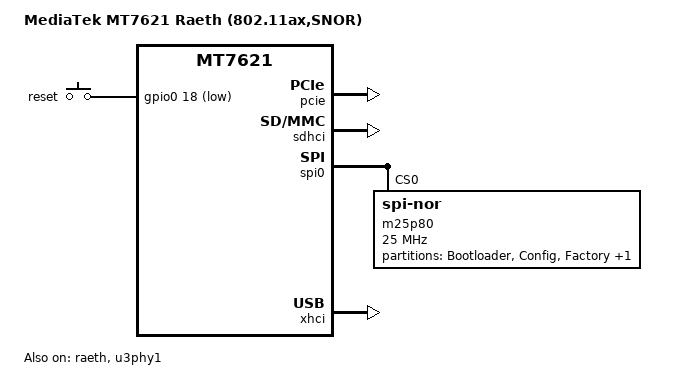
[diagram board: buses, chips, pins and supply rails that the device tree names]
/dts-v1/;

#include "mt7621.dtsi"
#include <dt-bindings/input/input.h>

/ {
	compatible = "mediatek,mt7621-rfb-ax-nor", "mediatek,mt7621-soc";
	model = "MediaTek MT7621 Raeth (802.11ax,SNOR)";

	chosen {
		bootargs = "console=ttyS0,115200";
	};

	gpio-keys-polled {
		compatible = "gpio-keys-polled";
		#address-cells = <1>;
		#size-cells = <0>;
		poll-interval = <20>;

		reset {
			label = "reset";
			gpios = <&gpio0 18 1>;
			linux,code = <KEY_RESTART>;
		};
	};
};

&raeth {
	mac-address = [00 00 00 00 00 00];
	wan_at = "p4";
	gmac1-support = "rgmii-1";
	rgmii-mode-1 = "force-1000";
	gmac2-support = "rgmii-2";
	rgmii-mode-2 = "force-1000";
	gmac2-phy-address = <0>;
	gmac1_txq_num = <1>;
	gmac1_txq_txd_num = <1024>;
	gmac2_txq_num = <1>;
	gmac2_txq_txd_num = <1024>;
	num_rx_desc = <1024>;
	status = "okay";
};

&pcie {
	status = "okay";
};

&pinctrl {
	state_default: pinctrl0 {
		gpio {
			mtk,group = "i2c", "uart2", "uart3";
			mtk,function = "gpio";
		};
	};
};

&sdhci {
	status = "okay";

	pinctrl-names = "default";
	pinctrl-0 = <&sdhci_pins>;
};

&spi0 {
	status = "okay";

	m25p80@0 {
		#address-cells = <1>;
		#size-cells = <1>;
		compatible = "jedec,spi-nor";
		reg = <0>;
		spi-max-frequency = <25000000>;

		partition@0 {
			label = "Bootloader";
			reg = <0x00000 0x40000>;
		};

		partition@40000 {
			label = "Config";
			reg = <0x40000 0x10000>;
		};

		partition@50000 {
			label = "Factory";
			reg = <0x50000 0x40000>;
		};

		partition@90000 {
			label = "firmware";
			reg = <0x90000 0xf70000>;
		};
	};
};

&u3phy1 {
	status = "okay";
};

&xhci {
	status = "okay";
};
